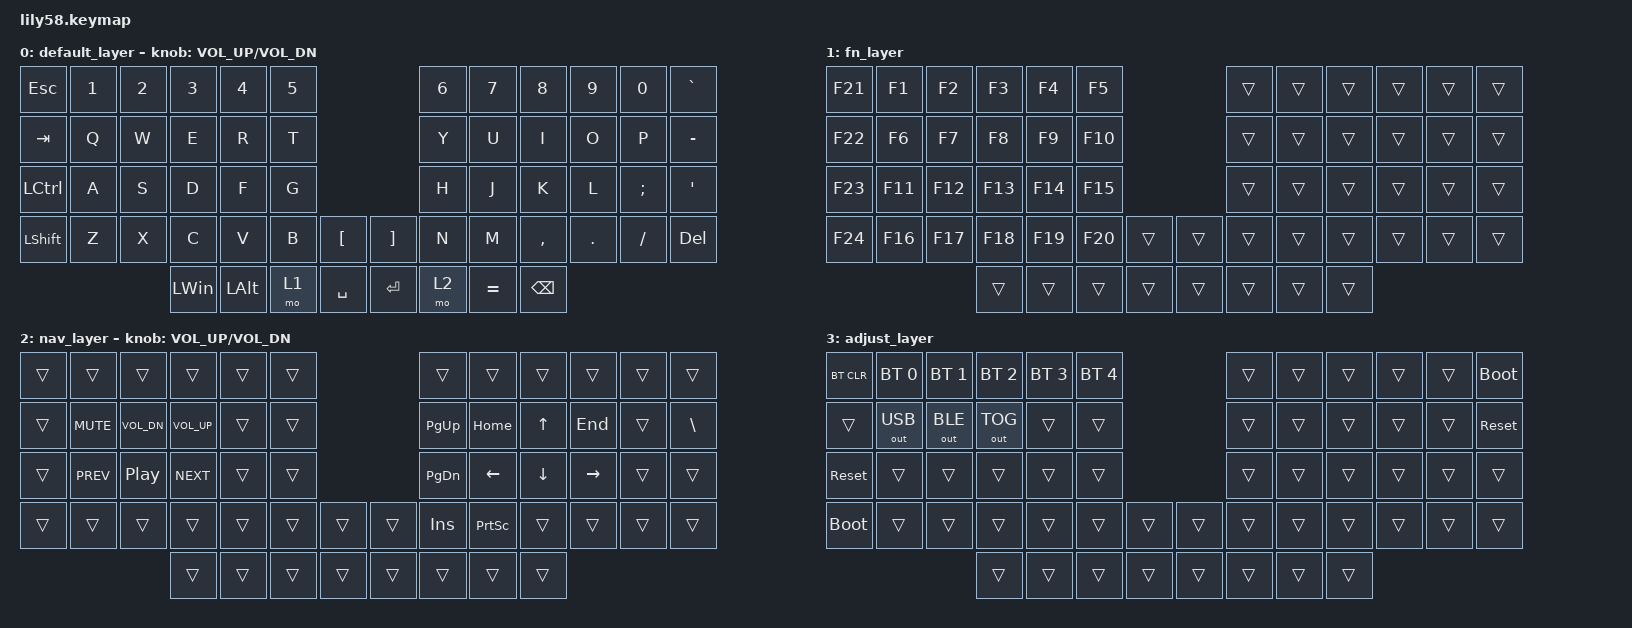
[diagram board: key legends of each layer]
/*
 * Copyright (c) 2020 The ZMK Contributors
 *
 * SPDX-License-Identifier: MIT
 */

#include <behaviors.dtsi>
#include <dt-bindings/zmk/bt.h>
#include <dt-bindings/zmk/outputs.h>
#include <dt-bindings/zmk/keys.h>

/ {
    combos {
        compatible = "zmk,combos";

        f12 {
            bindings = <&kp F12>;
            key-positions = <1 2 55>;
        };
    };

    conditional_layers {
        compatible = "zmk,conditional-layers";

        adjust {
            if-layers = <1 2>;
            then-layer = <3>;
        };
    };

    keymap {
        compatible = "zmk,keymap";

        default_layer {
            bindings = <
&kp ESC    &kp N1  &kp N2  &kp N3        &kp N4        &kp N5                         &kp N6  &kp N7     &kp N8         &kp N9   &kp N0    &kp GRAVE
&kp TAB    &kp Q   &kp W   &kp E         &kp R         &kp T                          &kp Y   &kp U      &kp I          &kp O    &kp P     &kp MINUS
&kp LCTRL  &kp A   &kp S   &kp D         &kp F         &kp G                          &kp H   &kp J      &kp K          &kp L    &kp SEMI  &kp SQT
&kp LSHFT  &kp Z   &kp X   &kp C         &kp V         &kp B   &kp LBKT     &kp RBKT  &kp N   &kp M      &kp COMMA      &kp DOT  &kp FSLH  &kp DEL
                           &kp LEFT_WIN  &kp LEFT_ALT  &mo 1   &kp SPACE    &kp RET   &mo 2   &kp EQUAL  &kp BACKSPACE
            >;

            sensor-bindings = <&inc_dec_kp C_VOL_UP C_VOL_DN>;
        };

        // Hold left thumb: all F-keys under the left hand (gaming extra buttons)
        fn_layer {
            bindings = <
&kp F21  &kp F1   &kp F2   &kp F3   &kp F4   &kp F5                       &trans  &trans  &trans  &trans  &trans  &trans
&kp F22  &kp F6   &kp F7   &kp F8   &kp F9   &kp F10                      &trans  &trans  &trans  &trans  &trans  &trans
&kp F23  &kp F11  &kp F12  &kp F13  &kp F14  &kp F15                      &trans  &trans  &trans  &trans  &trans  &trans
&kp F24  &kp F16  &kp F17  &kp F18  &kp F19  &kp F20  &trans      &trans  &trans  &trans  &trans  &trans  &trans  &trans
                           &trans   &trans   &trans   &trans      &trans  &trans  &trans  &trans
            >;
        };

        // Hold right thumb: arrows, navigation, media
        nav_layer {
            bindings = <
&trans  &trans      &trans    &trans    &trans  &trans                    &trans     &trans     &trans    &trans     &trans  &trans
&trans  &kp C_MUTE  &kp C_VOL_DN  &kp C_VOL_UP  &trans  &trans            &kp PG_UP  &kp HOME   &kp UP    &kp END    &trans  &kp BSLH
&trans  &kp C_PREV  &kp C_PP  &kp C_NEXT  &trans  &trans                  &kp PG_DN  &kp LEFT   &kp DOWN  &kp RIGHT  &trans  &trans
&trans  &trans      &trans    &trans    &trans  &trans  &trans    &trans  &kp INS    &kp PSCRN  &trans    &trans     &trans  &trans
                              &trans    &trans  &trans  &trans    &trans  &trans     &trans     &trans
            >;

            sensor-bindings = <&inc_dec_kp C_VOL_UP C_VOL_DN>;
        };

        // Hold both thumbs: Bluetooth, output, bootloader, reset
        adjust_layer {
            bindings = <
&bt BT_CLR   &bt BT_SEL 0   &bt BT_SEL 1   &bt BT_SEL 2    &bt BT_SEL 3  &bt BT_SEL 4                    &trans  &trans  &trans  &trans  &trans  &bootloader
&trans       &out OUT_USB   &out OUT_BLE   &out OUT_TOG    &trans        &trans                          &trans  &trans  &trans  &trans  &trans  &sys_reset
&sys_reset   &trans         &trans         &trans          &trans        &trans                          &trans  &trans  &trans  &trans  &trans  &trans
&bootloader  &trans         &trans         &trans          &trans        &trans        &trans    &trans  &trans  &trans  &trans  &trans  &trans  &trans
                                           &trans          &trans        &trans        &trans    &trans  &trans  &trans  &trans
            >;
        };
    };
};
